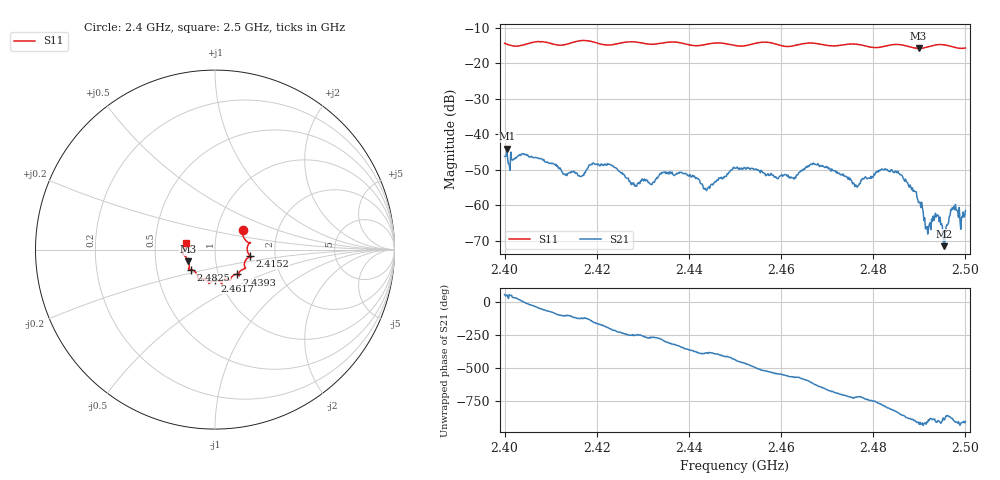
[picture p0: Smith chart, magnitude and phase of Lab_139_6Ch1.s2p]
# Hz S RI R 50
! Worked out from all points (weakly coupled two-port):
!   601 points, 2.4 GHz to 2.5 GHz, reference 50 ohm
!   highest |S21| = -44.03 dB at 2.4005 GHz (marker M1); lowest = -71.5 dB at 2.4953 GHz (marker M2)
!   lowest |S11| = -15.8 dB at 2.4898 GHz (marker M3), VSWR 1.38, Z = 36.8 - j4.88 ohm
!   |S11| at or under -10 dB: start of sweep to end of sweep
!   S12 and S22 are empty: the file has one direction only
!   S11 on the Smith chart (normalised r, x): 2.4 GHz: 1.33, +0.30; 2.4152 GHz: 1.48, -0.11; 2.4393 GHz: 1.23, -0.35; 2.4617 GHz: 0.94, -0.33; 2.4825 GHz: 0.75, -0.17; 2.5 GHz: 0.72, +0.05
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2.4e9  0.1552 0.1094  0.00265 0.00411  0 0  0 0
2.4005e9  0.1547 0.1021  0.0036 0.00515  0 0  0 0
2.415167e9  0.196 -0.0363  -0.00142 -0.00262  0 0  0 0
2.416667e9  0.2039 -0.0418  -0.00129 -0.00221  0 0  0 0
2.419333e9  0.1941 -0.0409  -0.00343 -0.0019  0 0  0 0
2.428167e9  0.1697 -0.1045  -0.000654 0.00177  0 0  0 0
2.433333e9  0.1328 -0.1332  0.000207 0.00252  0 0  0 0
2.439333e9  0.1238 -0.1382  0.00278 0.000283  0 0  0 0
2.443667e9  0.0875 -0.1613  0.00152 -0.000681  0 0  0 0
2.45e9  0.0666 -0.1642  0.000778 -0.00325  0 0  0 0
2.461667e9  0.00121 -0.1718  -0.00225 0.000965  0 0  0 0
2.466667e9  -0.0335 -0.1889  -0.00127 0.00361  0 0  0 0
2.476333e9  -0.0943 -0.1592  0.00189 1.87e-05  0 0  0 0
2.4825e9  -0.1326 -0.1114  0.00109 -0.00307  0 0  0 0
2.483333e9  -0.14 -0.1103  0.000434 -0.003  0 0  0 0
2.485833e9  -0.147 -0.1077  -0.00163 -0.00215  0 0  0 0
2.489833e9  -0.1478 -0.0646  -0.00107 0.000208  0 0  0 0
2.4915e9  -0.162 -0.0417  -0.000436 0.000201  0 0  0 0
2.494e9  -0.1807 -0.0238  -0.000735 -2.32e-05  0 0  0 0
2.495333e9  -0.1801 -0.0198  -0.000264 -4.04e-05  0 0  0 0
2.497333e9  -0.1692 -0.00599  -0.000881 -0.000126  0 0  0 0
2.5e9  -0.1597 0.0353  -0.000841 9.5e-05  0 0  0 0
